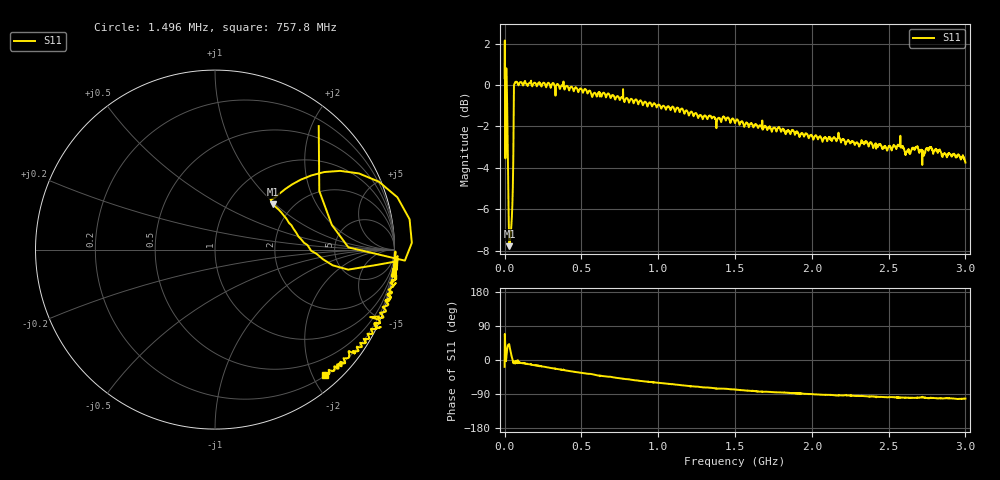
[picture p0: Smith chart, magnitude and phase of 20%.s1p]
# HZ S RI R 50
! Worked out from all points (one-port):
!   2020 points, 10 kHz to 3 GHz, reference 50 ohm
!   lowest |S11| = -7.8 dB at 31.21 MHz (marker M1), VSWR 2.38, Z = 79.7 + j48.1 ohm
!   |S11| at or under -10 dB: nowhere
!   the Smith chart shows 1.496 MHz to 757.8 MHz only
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10000  0.9865 -0.3239
5953516  0.6509 0.1375
1.635467e7  0.8015 0.4245
1.932643e7  0.6086 0.4321
2.378406e7  0.4293 0.363
2.675582e7  0.3597 0.3121
3.121346e7  0.3223 0.2516
3.715698e7  0.3844 0.1882
4.310049e7  0.4383 0.1148
5.350164e7  0.5649 -0.0229
6.39028e7  1.002 -0.089
7.133219e7  1.015 -0.0565
7.578983e7  1.017 -0.0372
2.422083e8  0.9526 -0.2911
3.759374e8  0.8967 -0.4418
6.121921e8  0.7254 -0.6297
7.503789e8  0.613 -0.6862
1.126306e9  0.3663 -0.8017
1.380392e9  0.2032 -0.7892
1.500748e9  0.1692 -0.7917
1.661223e9  0.0926 -0.7945
1.875189e9  0.0336 -0.7768
2.251117e9  -0.052 -0.7227
2.573552e9  -0.1226 -0.7014
2.625558e9  -0.1124 -0.6825
2.72214e9  -0.1019 -0.6845
2.769688e9  -0.1204 -0.6971
3e9  -0.1337 -0.6363
